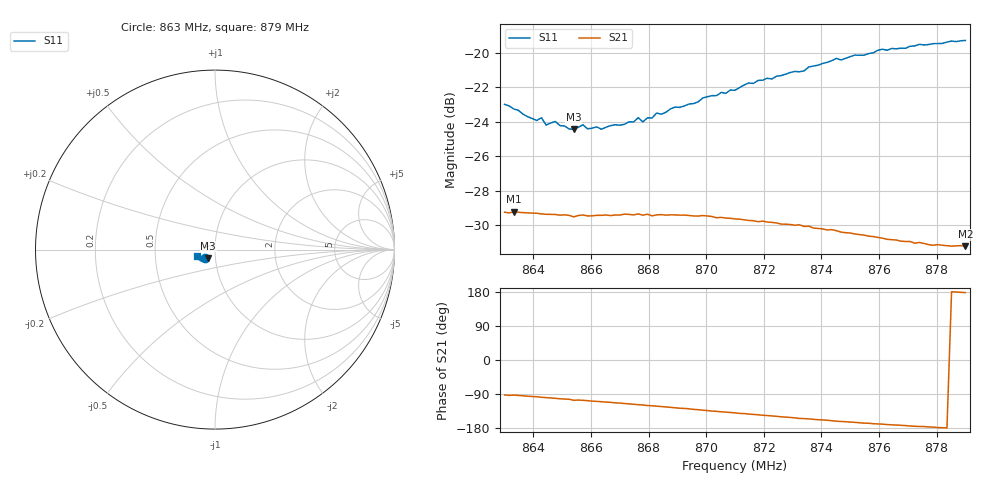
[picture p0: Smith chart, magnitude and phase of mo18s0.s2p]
# HZ S RI R 50
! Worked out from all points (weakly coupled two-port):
!   101 points, 863 MHz to 879 MHz, reference 50 ohm
!   highest |S21| = -29.21 dB at 863.32 MHz (marker M1); lowest = -31.2 dB at 879 MHz (marker M2)
!   lowest |S11| = -24.4 dB at 865.4 MHz (marker M3), VSWR 1.13, Z = 46.2 - j4.32 ohm
!   |S11| at or under -10 dB: start of sweep to end of sweep
!   S12 and S22 are empty: the file has one direction only
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8.63e8  -0.0532 -0.047  -0.00132 -0.0345  0 0  0 0
8.6332e8  -0.0498 -0.0475  -0.00156 -0.0346  0 0  0 0
8.6412e8  -0.0451 -0.045  -0.00415 -0.034  0 0  0 0
8.6428e8  -0.0447 -0.047  -0.00501 -0.0338  0 0  0 0
8.6444e8  -0.0432 -0.0443  -0.00553 -0.0336  0 0  0 0
8.6476e8  -0.0429 -0.0466  -0.00658 -0.0334  0 0  0 0
8.654e8  -0.0379 -0.0466  -0.00941 -0.0321  0 0  0 0
8.6572e8  -0.0391 -0.048  -0.00958 -0.0325  0 0  0 0
8.6588e8  -0.0377 -0.047  -0.01 -0.0322  0 0  0 0
8.6636e8  -0.0365 -0.0477  -0.0116 -0.0318  0 0  0 0
8.6748e8  -0.0349 -0.0526  -0.0153 -0.0303  0 0  0 0
8.6764e8  -0.0352 -0.0546  -0.016 -0.0302  0 0  0 0
8.678e8  -0.0336 -0.0535  -0.0163 -0.0297  0 0  0 0
8.6828e8  -0.0357 -0.0567  -0.0179 -0.0288  0 0  0 0
8.6844e8  -0.0349 -0.0565  -0.0184 -0.0286  0 0  0 0
8.6988e8  -0.039 -0.0629  -0.0227 -0.025  0 0  0 0
8.71e8  -0.0443 -0.0641  -0.0251 -0.0214  0 0  0 0
8.7148e8  -0.0472 -0.0669  -0.026 -0.0198  0 0  0 0
8.7372e8  -0.0618 -0.0677  -0.0285 -0.0124  0 0  0 0
8.7452e8  -0.0699 -0.0666  -0.0289 -0.00971  0 0  0 0
8.7644e8  -0.0857 -0.0572  -0.0284 -0.00446  0 0  0 0
8.79e8  -0.1019 -0.038  -0.0275 0.00104  0 0  0 0
